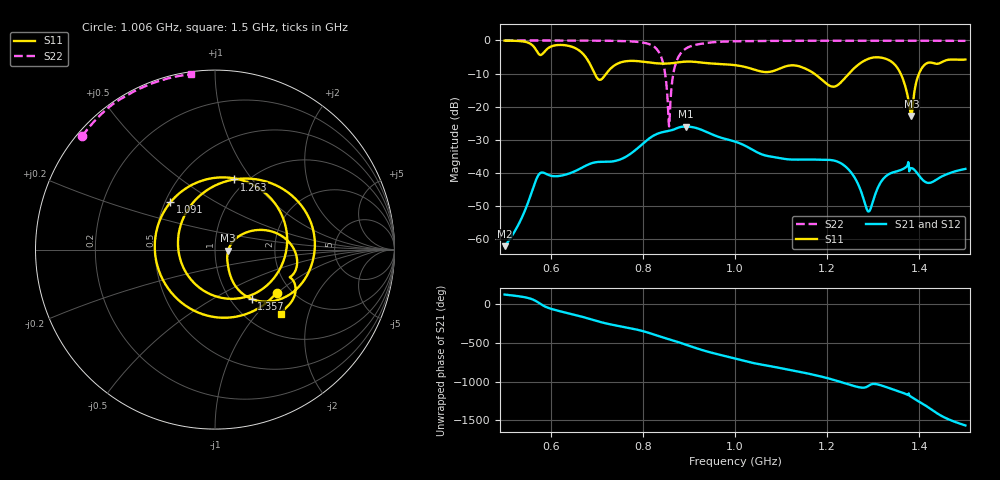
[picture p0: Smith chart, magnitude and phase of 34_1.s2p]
! TOUCHSTONE file generated by CST MICROWAVE STUDIO
! Date and time: Sat Nov 14 20:42:51 2020
! Project name: Scenario_1_Planar_Body_Tissue_Out_of_Line_v2.cst
! Parameters = {dy1=-224.9; L_HA=400; Ltissue=700; MT=2.54; Rad_Dielectric=30; Rad_Lower=7.3; Rad_Upper=30; Wtissue=700; a_HA=580; a_WG=246; b_HA=500; b_WG=121; c_HA=0; c_WG=187; d_feed=85; dx1=173; h_feed=15; h_lower=18; h_upper=40; hfat=3; hgap=25; hmuscle=50; hskin=1.5}
! Header version: 2018
! Port assignment regex: !\s*Touchstone port\s*([0-9]+)\s*=\s*(CST MWS port|CST DS port)\s*([0-9]+|Zmin|Zmax)\s*\(\"(.*)\"\)(\s*mode\s*([0-9]+))?.*
! Touchstone port assignment:
! Touchstone port 1 = CST MWS port 1 ("")
! Touchstone port 2 = CST MWS port 2 ("")
# GHz S DB R 50
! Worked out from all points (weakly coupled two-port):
!   1003 points, 500 MHz to 1.5 GHz, reference 50 ohm
!   highest |S21| = -25.97 dB at 893 MHz (marker M1); lowest = -62.0 dB at 500 MHz (marker M2)
!   lowest |S11| = -22.7 dB at 1.383 GHz (marker M3), VSWR 1.16, Z = 57.8 - j0.795 ohm
!   |S11| at or under -10 dB: 695.3 MHz to 720.6 MHz (25.26 MHz wide, 3.57 % of centre); 1.172 GHz to 1.247 GHz (75.19 MHz wide, 6.22 % of centre); 1.36 GHz to 1.399 GHz (39.87 MHz wide, 2.89 % of centre)
!   |S22| runs from -25.9 to 0.0 dB; largest |S21 - S12| = 0.0047
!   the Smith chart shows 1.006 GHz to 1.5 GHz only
!   S11 on the Smith chart (normalised r, x): 1.006 GHz: 1.69, -0.98; 1.091 GHz: 0.53, +0.32; 1.263 GHz: 0.88, +0.83; 1.357 GHz: 1.25, -0.78; 1.5 GHz: 1.40, -1.37
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0.5  -0.05 -121.8  -62.02 126.7  -62.02 126.7  -0.01 151.1
0.576  -4.30 -160.5  -40.14 12.3  -40.14 12.3  -0.02 145.9
0.628  -1.40 171.6  -40.61 -100.8  -40.61 -100.8  -0.03 141.9
0.667  -3.61 111.6  -38.42 -158.6  -38.42 -158.6  -0.04 138.4
0.694  -9.62 29.6  -36.82 155.5  -36.82 155.5  -0.06 135.6
0.721  -9.93 -103.4  -36.59 112.6  -36.59 112.6  -0.10 132.2
0.764  -6.26 160.2  -35.00 62.4  -35.00 62.4  -0.22 124.6
0.834  -6.93 24.8  -28.01 -48.8  -28.01 -48.8  -3.33 82.3
0.857  -6.94 -34.7  -27.24 -91.6  -27.24 -91.6  -25.94 -55.6
0.893  -6.38 -140.5  -25.97 -160.5  -25.97 -160.5  -2.49 172.1
0.939  -6.84 95.7  -27.64 111.9  -27.64 111.9  -0.76 152.2
1  -7.45 -24.0  -30.49 19.3  -30.49 19.3  -0.26 140.3
1.006  -7.56 -35.0  -30.77 10.1  -30.77 10.1  -0.24 139.5
1.091  -8.83 133.4  -35.31 -94.5  -35.31 -94.5  -0.13 130.6
1.167  -9.54 -46.0  -35.90 175.0  -35.90 175.0  -0.08 124.2
1.263  -7.83 74.5  -42.15 17.6  -42.15 17.6  -0.09 116.9
1.29  -5.52 32.4  -51.57 28.8  -51.57 28.8  -0.09 114.9
1.334  -5.93 -25.7  -40.30 -0.3  -40.30 -0.3  -0.08 111.6
1.357  -9.31 -53.4  -39.19 -46.5  -39.19 -46.5  -0.09 109.8
1.383  -22.73 -5.4  -38.50 -116.9  -38.49 -117.0  -0.09 107.8
1.412  -7.28 2.1  -42.58 138.4  -42.58 138.4  -0.10 105.5
1.5  -5.75 -44.1  -38.72 -124.4  -38.72 -124.4  -0.13 98.0
